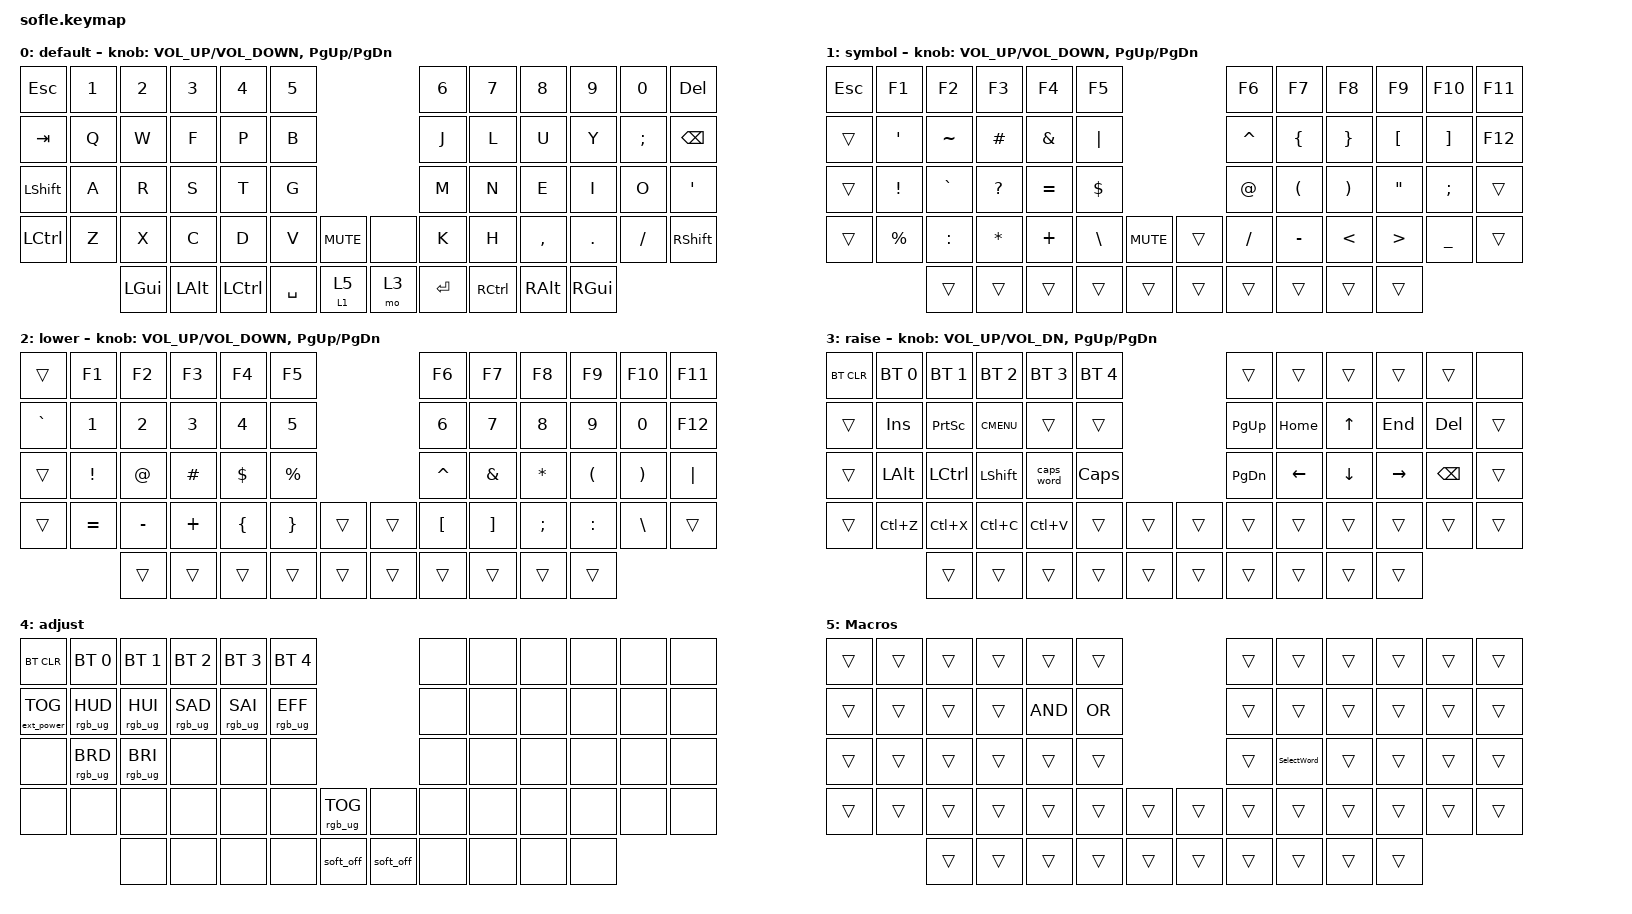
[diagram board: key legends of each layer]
/*
 * Copyright (c) 2020 The ZMK Contributors
 *
 * SPDX-License-Identifier: MIT
 */

#include <behaviors.dtsi>
#include <dt-bindings/zmk/bt.h>
#include <dt-bindings/zmk/ext_power.h>
#include <dt-bindings/zmk/keys.h>
#include <dt-bindings/zmk/rgb.h>

#define BASE 0
#define LOWER 1
#define RAISE 2
#define ADJUST 3

/ {
    // Activate ADJUST layer by pressing raise and lower

    conditional_layers {
        compatible = "zmk,conditional-layers";

        adjust_layer {
            if-layers = <2 3>;
            then-layer = <4>;
        };
    };

    macros {
        AND: AND {
            compatible = "zmk,behavior-macro";
            #binding-cells = <0>;
            bindings = <&kp AMPERSAND &kp AMPERSAND>;
            label = "AND";
        };

        OR: OR {
            compatible = "zmk,behavior-macro";
            #binding-cells = <0>;
            bindings = <&kp PIPE &kp PIPE>;
            label = "OR";
        };

        SelectWord: SelectWord {
            compatible = "zmk,behavior-macro";
            #binding-cells = <0>;
            bindings = <&kp LC(LEFT_ARROW) &kp LC(LS(RIGHT_ARROW))>;
            label = "SELECTWORD";
        };
    };

    behaviors {
        mslayer: mslayer {
            compatible = "zmk,behavior-hold-tap";
            label = "Hold layer/Sticky layer";
            bindings = <&mo>, <&sl>;

            #binding-cells = <2>;
            tapping-term-ms = <30>;
        };
    };

    keymap {
        compatible = "zmk,keymap";

        default_layer {
            display-name = "default";

            // ------------------------------------------------------------------------------------------------------------
            // |   `   |  1  |  2  |  3   |  4   |  5   |                   |  6   |  7    |  8    |  9   |   0   |       |
            // |  ESC  |  Q  |  W  |  E   |  R   |  T   |                   |  Y   |  U    |  I    |  O   |   P   | BKSPC |
            // |  TAB  |  A  |  S  |  D   |  F   |  G   |                   |  H   |  J    |  K    |  L   |   ;   |   '   |
            // | SHIFT |  Z  |  X  |  C   |  V   |  B   |  MUTE  |  |       |  N   |  M    |  ,    |  .   |   /   | SHIFT |
            //               | GUI | ALT  | CTRL | LOWER|  ENTER |  | SPACE | RAISE| CTRL  | ALT   | GUI  |

            bindings = <
&kp ESC           &kp N1  &kp N2    &kp N3    &kp N4     &kp N5                            &kp N6     &kp N7     &kp N8     &kp N9    &kp N0    &kp DEL
&kp TAB           &kp Q   &kp W     &kp F     &kp P      &kp B                             &kp J      &kp L      &kp U      &kp Y     &kp SEMI  &kp BSPC
&kp LEFT_SHIFT    &kp A   &kp R     &kp S     &kp T      &kp G                             &kp M      &kp N      &kp E      &kp I     &kp O     &kp SQT
&kp LEFT_CONTROL  &kp Z   &kp X     &kp C     &kp D      &kp V      &kp C_MUTE      &none  &kp K      &kp H      &kp COMMA  &kp DOT   &kp FSLH  &kp RSHFT
                          &kp LGUI  &kp LALT  &kp LCTRL  &kp SPACE  &mslayer 1 5    &mo 3  &kp ENTER  &kp RCTRL  &kp RALT   &kp RGUI
            >;

            sensor-bindings =
                <&inc_dec_kp C_VOLUME_UP C_VOLUME_DOWN>,
                <&inc_dec_kp PAGE_UP PAGE_DOWN>;
        };

        symbol {
            bindings = <
&kp ESC  &kp F1           &kp F2     &kp F3        &kp F4     &kp F5                               &kp F6       &kp F7                &kp F8                 &kp F9             &kp F10            &kp F11
&trans   &kp APOSTROPHE   &kp TILDE  &kp HASH      &kp AMPS   &kp PIPE                             &kp CARET    &kp LEFT_BRACE        &kp RIGHT_BRACE        &kp LEFT_BRACKET   &kp RIGHT_BRACKET  &kp F12
&trans   &kp EXCLAMATION  &kp GRAVE  &kp QUESTION  &kp EQUAL  &kp DOLLAR                           &kp AT_SIGN  &kp LEFT_PARENTHESIS  &kp RIGHT_PARENTHESIS  &kp DOUBLE_QUOTES  &kp SEMICOLON      &trans
&trans   &kp PERCENT      &kp COLON  &kp ASTERISK  &kp PLUS   &kp BACKSLASH  &kp C_MUTE    &trans  &kp SLASH    &kp MINUS             &kp LESS_THAN          &kp GREATER_THAN   &kp UNDERSCORE     &trans
                          &trans     &trans        &trans     &trans         &trans        &trans  &trans       &trans                &trans                 &trans
            >;

            sensor-bindings =
                <&inc_dec_kp C_VOLUME_UP C_VOLUME_DOWN>,
                <&inc_dec_kp PAGE_UP PAGE_DOWN>;
        };

        lower_layer {
            display-name = "lower";

            // TODO: Some binds are waiting for shifted keycode support.
            // ------------------------------------------------------------------------------------------------------------
            // |       |  F1 |  F2 |  F3  |  F4  |  F5  |                   |  F6  |  F7   |  F8   |  F9  |  F10  |  F11  |
            // |   `   |  1  |  2  |  3   |  4   |  5   |                   |  6   |  7    |  8    |  9   |   0   |  F12  |
            // |       |  !  |  @  |  #   |  $   |  %   |                   |  ^   |  &    |  *    |  (   |   )   |   |   |
            // |       |  =  |  -  |  +   |  {   |  }   |        |  |       |  [   |  ]    |  ;    |  :   |   \   |       |
            //               |     |      |      |      |        |  |       |      |       |       |      |

            bindings = <
&trans     &kp F1     &kp F2     &kp F3    &kp F4    &kp F5                       &kp F6     &kp F7    &kp F8     &kp F9     &kp F10   &kp F11
&kp GRAVE  &kp N1     &kp N2     &kp N3    &kp N4    &kp N5                       &kp N6     &kp N7    &kp N8     &kp N9     &kp N0    &kp F12
&trans     &kp EXCL   &kp AT     &kp HASH  &kp DLLR  &kp PRCNT                    &kp CARET  &kp AMPS  &kp ASTRK  &kp LPAR   &kp RPAR  &kp PIPE
&trans     &kp EQUAL  &kp MINUS  &kp PLUS  &kp LBRC  &kp RBRC   &trans    &trans  &kp LBKT   &kp RBKT  &kp SEMI   &kp COLON  &kp BSLH  &trans
                      &trans     &trans    &trans    &trans     &trans    &trans  &trans     &trans    &trans     &trans
            >;

            sensor-bindings =
                <&inc_dec_kp C_VOLUME_UP C_VOLUME_DOWN>,
                <&inc_dec_kp PAGE_UP PAGE_DOWN>;
        };

        raise_layer {
            display-name = "raise";

            // ------------------------------------------------------------------------------------------------------------
            // | BTCLR | BT1  | BT2  |  BT3  |  BT4  |  BT5 |                |      |      |       |      |       |       |
            // |       | INS  | PSCR | GUI   |       |      |                | PGUP |      |   ^   |      |       |       |
            // |       | ALT  | CTRL | SHIFT |       | CAPS |                | PGDN |   <- |   v   |  ->  |  DEL  | BKSPC |
            // |       | UNDO | CUT  | COPY  | PASTE |      |      |  |      |      |      |       |      |       |       |
            //                |      |       |       |      |      |  |      |      |      |       |      |

            bindings = <
&bt BT_CLR  &bt BT_SEL 0  &bt BT_SEL 1  &bt BT_SEL 2  &bt BT_SEL 3  &bt BT_SEL 4                    &trans     &trans    &trans    &trans     &trans         &none
&trans      &kp INS       &kp PSCRN     &kp K_CMENU   &trans        &trans                          &kp PG_UP  &kp HOME  &kp UP    &kp END    &kp DELETE     &trans
&trans      &kp LALT      &kp LCTRL     &kp LSHFT     &caps_word    &kp CLCK                        &kp PG_DN  &kp LEFT  &kp DOWN  &kp RIGHT  &kp BACKSPACE  &trans
&trans      &kp LC(Z)     &kp LC(X)     &kp LC(C)     &kp LC(V)     &trans        &trans    &trans  &trans     &trans    &trans    &trans     &trans         &trans
                          &trans        &trans        &trans        &trans        &trans    &trans  &trans     &trans    &trans    &trans
            >;

            sensor-bindings =
                <&inc_dec_kp C_VOL_UP C_VOL_DN>,
                <&inc_dec_kp PAGE_UP PAGE_DOWN>;
        };

        adjust_layer {
            // ----------------------------------------------------------------------------------------------------------------------------
            // | BTCLR  |  BT1    |  BT2    |   BT3   |   BT4   |   BT5   |                  |      |      |       |      |       |       |
            // | EXTPWR | RGB_HUD | RGB_HUI | RGB_SAD | RGB_SAI | RGB_EFF |                  |      |      |       |      |       |       |
            // |        | RGB_BRD | RGB_BRI |         |         |         |                  |      |      |       |      |       |       |
            // |        |         |         |         |         |         | RGB_TOG | |      |      |      |       |      |       |       |
            //                    |         |         |         |         |         | |      |      |      |       |      |

            display-name = "adjust";
            bindings = <
&bt BT_CLR         &bt BT_SEL 0     &bt BT_SEL 1     &bt BT_SEL 2     &bt BT_SEL 3     &bt BT_SEL 4                                   &none  &none  &none  &none  &none  &none
&ext_power EP_TOG  &rgb_ug RGB_HUD  &rgb_ug RGB_HUI  &rgb_ug RGB_SAD  &rgb_ug RGB_SAI  &rgb_ug RGB_EFF                                &none  &none  &none  &none  &none  &none
&none              &rgb_ug RGB_BRD  &rgb_ug RGB_BRI  &none            &none            &none                                          &none  &none  &none  &none  &none  &none
&none              &none            &none            &none            &none            &none            &rgb_ug RGB_TOG    &none      &none  &none  &none  &none  &none  &none
                                    &none            &none            &none            &none            &soft_off          &soft_off  &none  &none  &none  &none
            >;
        };

        Macros {
            bindings = <
&trans  &trans  &trans  &trans  &trans  &trans                    &trans  &trans       &trans  &trans  &trans  &trans
&trans  &trans  &trans  &trans  &AND    &OR                       &trans  &trans       &trans  &trans  &trans  &trans
&trans  &trans  &trans  &trans  &trans  &trans                    &trans  &SelectWord  &trans  &trans  &trans  &trans
&trans  &trans  &trans  &trans  &trans  &trans  &trans    &trans  &trans  &trans       &trans  &trans  &trans  &trans
                &trans  &trans  &trans  &trans  &trans    &trans  &trans  &trans       &trans  &trans
            >;
        };
    };
};
